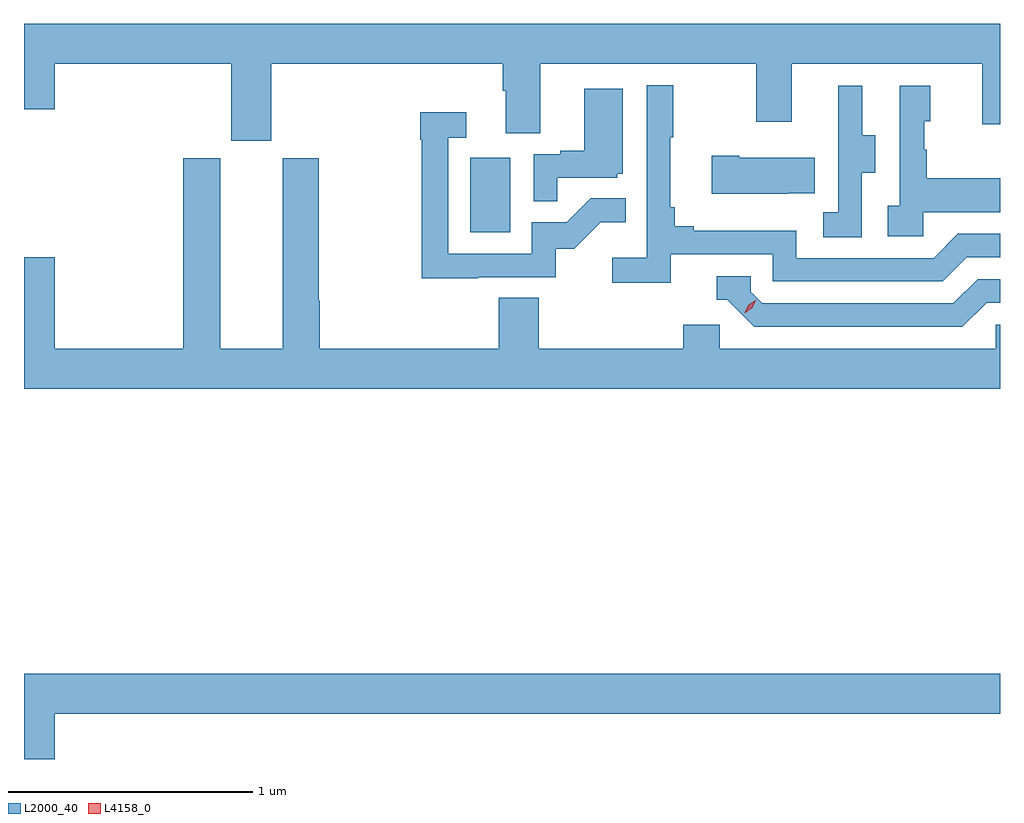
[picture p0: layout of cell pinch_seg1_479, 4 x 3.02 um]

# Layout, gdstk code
import gdstk
lib = gdstk.Library(unit=1e-6, precision=1e-09)
def R(c, l, rs):  # rectangles x0, y0, x1, y1
    for r in rs: c.add(gdstk.rectangle(r[:2], r[2:], *l))
def P(c, l, *ps):  # polygons
    for p in ps: c.add(gdstk.Polygon(p, *l))
L2000_40 = (2000, 40)
L4158_0 = (4158, 0)

pinch_seg1_479 = lib.new_cell('pinch_seg1_479')
R(pinch_seg1_479, L2000_40, [(1101.938,525.732,1102.102,526.039)])
P(pinch_seg1_479, L2000_40, [(1101.124,526.424),(1102.073,526.424),(1102.073,526.312),(1102.085,526.312),(1102.085,526.138),(1102.225,526.138),(1102.225,526.424),(1103.11,526.424),(1103.11,526.185),(1103.257,526.185),(1103.257,526.424),(1104.038,526.424),(1104.038,526.176),(1104.11,526.176),(1104.11,526.588),(1100.11,526.588),(1100.11,526.236),(1100.236,526.236),(1100.236,526.424),(1100.96,526.424),(1100.96,526.107),(1101.124,526.107)],
  [(1102.76,525.642),(1103.178,525.642),(1103.178,525.531),(1103.875,525.531),(1103.974,525.63),(1104.11,525.63),(1104.11,525.726),(1103.937,525.726),(1103.838,525.627),(1103.274,525.627),(1103.274,525.739),(1102.855,525.739),(1102.855,525.758),(1102.778,525.758),(1102.778,525.835),(1102.759,525.835),(1102.759,526.123),(1102.771,526.123),(1102.771,526.336),(1102.662,526.336),(1102.662,525.628),(1102.521,525.628),(1102.521,525.526),(1102.76,525.526)],
  [(1103.796,525.815),(1104.11,525.815),(1104.11,525.955),(1103.809,525.955),(1103.809,526.07),(1103.799,526.07),(1103.799,526.188),(1103.824,526.188),(1103.824,526.333),(1103.7,526.333),(1103.7,525.842),(1103.649,525.842),(1103.649,525.717),(1103.796,525.717)],
  [(1103.544,525.976),(1103.599,525.976),(1103.599,526.131),(1103.545,526.131),(1103.545,526.333),(1103.447,526.333),(1103.447,526.119),(1103.448,526.119),(1103.448,525.815),(1103.385,525.815),(1103.385,525.712),(1103.544,525.712)],
  [(1102.295,525.957),(1102.542,525.957),(1102.542,525.972),(1102.564,525.972),(1102.564,526.321),(1102.406,526.321),(1102.406,526.066),(1102.307,526.066),(1102.307,526.053),(1102.2,526.053),(1102.2,525.859),(1102.295,525.859)],
  [(1101.971,525.549),(1102.29,525.549),(1102.29,525.666),(1102.366,525.666),(1102.473,525.773),(1102.577,525.773),(1102.577,525.872),(1102.433,525.872),(1102.335,525.774),(1102.191,525.774),(1102.191,525.645),(1101.849,525.645),(1101.849,526.119),(1101.922,526.119),(1101.922,526.225),(1101.733,526.225),(1101.733,526.112),(1101.741,526.112),(1101.741,525.544),(1101.971,525.544)],
  [(1103.243,525.893),(1103.351,525.893),(1103.351,526.039),(1103.041,526.039),(1103.041,526.047),(1102.929,526.047),(1102.929,525.89),(1103.243,525.89)],
  [(1100.762,526.035),(1100.762,525.256),(1100.236,525.256),(1100.236,525.631),(1100.11,525.631),(1100.11,525.092),(1104.11,525.092),(1104.11,525.354),(1104.093,525.354),(1104.093,525.256),(1102.962,525.256),(1102.962,525.354),(1102.811,525.354),(1102.811,525.256),(1102.22,525.256),(1102.22,525.464),(1102.055,525.464),(1102.055,525.256),(1101.323,525.256),(1101.323,525.452),(1101.318,525.452),(1101.318,526.035),(1101.17,526.035),(1101.17,525.256),(1100.914,525.256),(1100.914,526.035)],
  [(1104.055,525.444),(1104.11,525.444),(1104.11,525.54),(1104.018,525.54),(1103.919,525.441),(1103.136,525.441),(1103.088,525.489),(1103.088,525.552),(1102.949,525.552),(1102.949,525.456),(1102.992,525.456),(1103.103,525.345),(1103.956,525.345)],
  [(1100.236,523.76),(1104.11,523.76),(1104.11,523.924),(1100.11,523.924),(1100.11,523.572),(1100.236,523.572)])
P(pinch_seg1_479, L4158_0, [(1103.064,525.403),(1103.064,525.404),(1103.08,525.436),(1103.11,525.456),(1103.111,525.456),(1103.111,525.456),(1103.095,525.423),(1103.065,525.403)])

lib.write_gds('pinch_seg1_479.gds')
